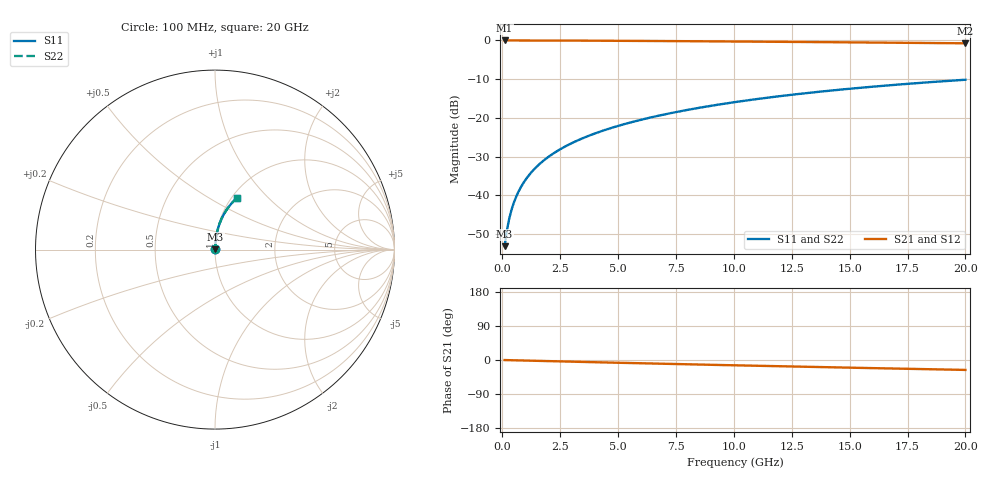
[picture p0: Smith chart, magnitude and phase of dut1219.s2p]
! Touchstone file exported from HFSS 2024.1.0
!  File:  C:/UserFiles/LocalFiles/RDL_TSV_Batchsim/temp_RDL_bottom_1219_1780244018.aedt
!  Generated:  12:16:19 AM Jun  1, 2026
!  Design:  RDL_bottom
!  Project:  temp_RDL_bottom_1219_1780244018
!  Setup:  Setup1
!  Solution:  Sweep
! Variables:
!  dtsv = 10.80580581um
!  hbump = 3um
!  htsv = 95.6um
!  ldown = 306.08um
!  lrdl = 100um
!  p = 40
!  p1 = 56.87um
!  rhole = 1um
!  t = 450um
!  tdown = 4.97um
!  trdl = 3.915915916um
!  wdown = 15.78um
!  wrdl = 20um
# GHz S MA R 50.000000
! Terminal data exported
! Port[1] = RDL1_T1
! Port[2] = RDL1_T2
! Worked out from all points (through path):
!   200 points, 100 MHz to 20 GHz, reference 50 ohm
!   highest |S21| = -0.01 dB at 100 MHz (marker M1); lowest = -0.7 dB at 20 GHz (marker M2)
!   group delay of S21, straight-line fit = 3.61 ps
!   lowest |S11| = -53.1 dB at 100 MHz (marker M3), VSWR 1.00, Z = 50.1 + j0.164 ohm
!   |S11| at or under -10 dB: start of sweep to end of sweep
!   |S22| runs from -53.1 to -10.1 dB; largest |S21 - S12| = 2.7e-15
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0.1  0.002219 47.5  0.9985 -0.2  0.9985 -0.2  0.002219 47.5
! Gamma 0 0 0 0
! Port Impedance 50 0 50 0
0.2  0.00357 64.3  0.9984 -0.3  0.9984 -0.3  0.00357 64.3
0.3  0.00504 71.7  0.9984 -0.5  0.9984 -0.5  0.00504 71.7
0.4  0.006554 75.7  0.9983 -0.6  0.9983 -0.6  0.006554 75.7
0.5  0.008092 78.3  0.9982 -0.8  0.9982 -0.8  0.008092 78.3
0.7  0.0112 81.1  0.9981 -1.1  0.9981 -1.1  0.0112 81.1
0.8  0.01276 82.0  0.998 -1.2  0.998 -1.2  0.01276 82.0
1  0.01589 83.2  0.9978 -1.5  0.9978 -1.5  0.01589 83.2
1.2  0.01903 84.0  0.9976 -1.8  0.9976 -1.8  0.01903 84.0
1.4  0.02217 84.4  0.9974 -2.1  0.9974 -2.1  0.02217 84.4
1.7  0.02688 84.8  0.9969 -2.5  0.9969 -2.5  0.02688 84.8
2  0.0316 85.1  0.9965 -3.0  0.9965 -3.0  0.0316 85.1
2.7  0.04259 85.1  0.9951 -4.0  0.9951 -4.0  0.04259 85.1
3.5  0.05518 84.9  0.9931 -5.2  0.9931 -5.2  0.05518 84.9
4.2  0.06623 84.5  0.9911 -6.2  0.9911 -6.2  0.06623 84.5
5  0.07892 84.0  0.9885 -7.3  0.9885 -7.3  0.07892 84.0
6.8  0.1077 82.5  0.9819 -9.7  0.9819 -9.7  0.1077 82.5
8.4  0.1335 80.9  0.9754 -11.9  0.9754 -11.9  0.1335 80.9
10.1  0.1609 79.1  0.9679 -14.1  0.9679 -14.1  0.1609 79.0
13.4  0.2132 75.1  0.9524 -18.3  0.9524 -18.3  0.2132 75.1
16.7  0.2635 71.1  0.9355 -22.3  0.9355 -22.3  0.2635 71.1
20  0.311 67.1  0.9175 -26.2  0.9175 -26.2  0.311 67.1
